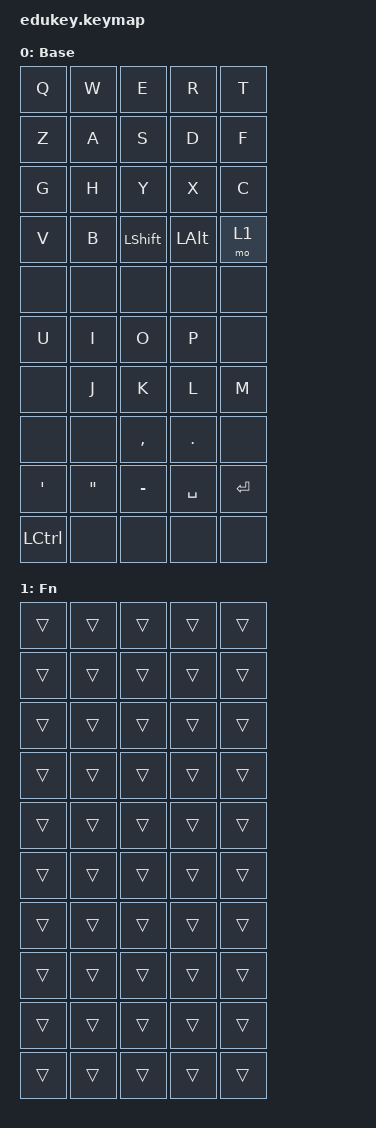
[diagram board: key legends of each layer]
#include <behaviors.dtsi>
#include <dt-bindings/zmk/keys.h>

/ {
    keymap {
        compatible = "zmk,keymap";

        base_layer {
            display-name = "Base";
            bindings = <
                /* Main gauche */
                &kp Q      &kp W      &kp E      &kp R      &kp T
                &kp Z      &kp A      &kp S      &kp D      &kp F
                &kp G      &kp H      &kp Y      &kp X      &kp C
                &kp V      &kp B      &kp LSHIFT &kp LALT   &mo 1
                &none      &none      &none      &none      &none

                /* Main droite */
                &kp U      &kp I      &kp O      &kp P      &none
                &none      &kp J      &kp K      &kp L      &kp M
                &none      &none      &kp COMMA  &kp DOT    &none
                &kp SQT    &kp DQT    &kp MINUS  &kp SPACE  &kp ENTER
                &kp LCTRL  &none      &none      &none      &none
            >;
        };

        layer_1 {
            display-name = "Fn";
            bindings = <
                &trans &trans &trans &trans &trans
                &trans &trans &trans &trans &trans
                &trans &trans &trans &trans &trans
                &trans &trans &trans &trans &trans
                &trans &trans &trans &trans &trans

                &trans &trans &trans &trans &trans
                &trans &trans &trans &trans &trans
                &trans &trans &trans &trans &trans
                &trans &trans &trans &trans &trans
                &trans &trans &trans &trans &trans
            >;
        };
    };
};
